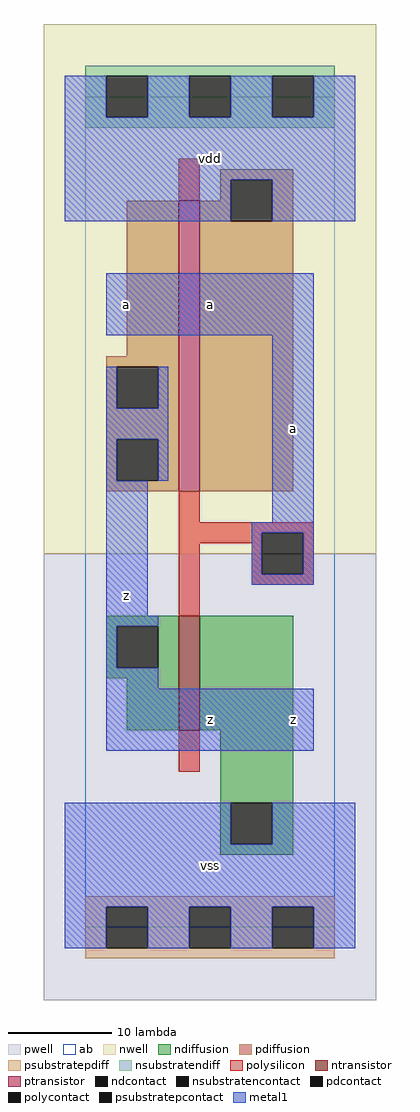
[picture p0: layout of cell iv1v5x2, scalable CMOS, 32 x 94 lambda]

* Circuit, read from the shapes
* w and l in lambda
.subckt iv1v5x2 a vdd vss z
M1 vss a z vss nfet w=11 l=2
M2 vdd a z vdd pfet w=28 l=2
.ends

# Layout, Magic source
magic
tech scmos
<< ab >>
rect 0 0 24 80
<< pwell >>
rect -4 -7 28 36
<< nwell >>
rect -4 36 28 87
<< polysilicon >>
rect 9 70 11 74
rect 9 39 11 42
rect 9 38 22 39
rect 9 37 17 38
rect 9 30 11 37
rect 16 34 17 37
rect 21 34 22 38
rect 16 33 22 34
rect 9 15 11 19
<< ndiffusion >>
rect 2 29 9 30
rect 2 25 3 29
rect 7 25 9 29
rect 2 24 9 25
rect 4 19 9 24
rect 11 19 20 30
rect 13 12 20 19
rect 13 8 14 12
rect 18 8 20 12
rect 13 7 20 8
<< pdiffusion >>
rect 13 72 20 73
rect 13 70 14 72
rect 4 55 9 70
rect 2 54 9 55
rect 2 50 3 54
rect 7 50 9 54
rect 2 47 9 50
rect 2 43 3 47
rect 7 43 9 47
rect 2 42 9 43
rect 11 68 14 70
rect 18 68 20 72
rect 11 42 20 68
<< metal1 >>
rect -2 78 2 82
rect 6 78 10 82
rect 14 78 18 82
rect 22 78 26 82
rect -2 72 26 78
rect -2 68 14 72
rect 18 68 26 72
rect 2 57 22 63
rect 2 50 3 54
rect 7 50 8 54
rect 2 47 8 50
rect 2 43 3 47
rect 7 43 8 47
rect 2 30 6 43
rect 18 39 22 57
rect 16 38 22 39
rect 16 34 17 38
rect 21 34 22 38
rect 16 33 22 34
rect 2 29 7 30
rect 2 25 3 29
rect 2 23 7 25
rect 2 17 22 23
rect -2 8 14 12
rect 18 8 26 12
rect -2 2 26 8
rect -2 -2 2 2
rect 6 -2 10 2
rect 14 -2 18 2
rect 22 -2 26 2
<< ntransistor >>
rect 9 19 11 30
<< ptransistor >>
rect 9 42 11 70
<< polycontact >>
rect 17 34 21 38
<< ndcontact >>
rect 3 25 7 29
rect 14 8 18 12
<< pdcontact >>
rect 3 50 7 54
rect 3 43 7 47
rect 14 68 18 72
<< psubstratepcontact >>
rect 2 -2 6 2
rect 10 -2 14 2
rect 18 -2 22 2
<< nsubstratencontact >>
rect 2 78 6 82
rect 10 78 14 82
rect 18 78 22 82
<< psubstratepdiff >>
rect 0 2 24 3
rect 0 -2 2 2
rect 6 -2 10 2
rect 14 -2 18 2
rect 22 -2 24 2
rect 0 -3 24 -2
<< nsubstratendiff >>
rect 0 82 24 83
rect 0 78 2 82
rect 6 78 10 82
rect 14 78 18 82
rect 22 78 24 82
rect 0 77 24 78
<< labels >>
rlabel metal1 4 32 4 32 6 z
rlabel metal1 4 60 4 60 6 a
rlabel metal1 12 6 12 6 6 vss
rlabel metal1 12 20 12 20 6 z
rlabel metal1 12 60 12 60 6 a
rlabel metal1 12 74 12 74 6 vdd
rlabel metal1 20 20 20 20 6 z
rlabel metal1 20 48 20 48 6 a
<< end >>
